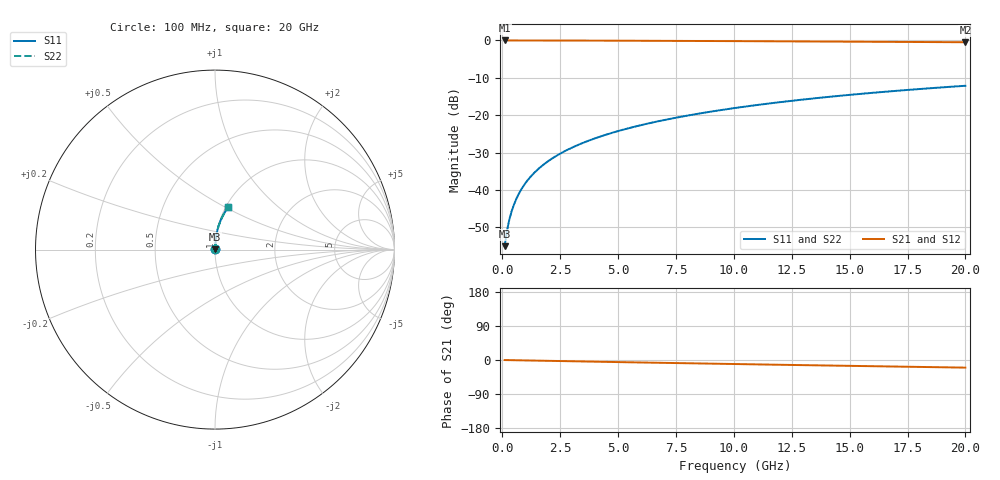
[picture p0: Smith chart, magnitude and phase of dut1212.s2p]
! Touchstone file exported from HFSS 2024.1.0
!  File:  C:/UserFiles/LocalFiles/RDL_TSV_Batchsim/temp_RDL_top_1212_1780239928.aedt
!  Generated:  11:07:52 PM May 31, 2026
!  Design:  RDL_top
!  Project:  temp_RDL_top_1212_1780239928
!  Setup:  Setup1
!  Solution:  Sweep
! Variables:
!  dtsv = 10.80580581um
!  hbump = 3um
!  htsv = 89.34um
!  ldown = 100um
!  lrdl = 228.96um
!  p = 40
!  p1 = 53.1um
!  rhole = 1um
!  t = 450um
!  tdown = 3.915915916um
!  trdl = 4.81um
!  wdown = 15.38538539um
!  wrdl = 15.24um
# GHz S MA R 50.000000
! Terminal data exported
! Port[1] = Box2_T1
! Port[2] = Box2_T2
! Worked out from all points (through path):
!   200 points, 100 MHz to 20 GHz, reference 50 ohm
!   highest |S21| = -0.01 dB at 100 MHz (marker M1); lowest = -0.5 dB at 20 GHz (marker M2)
!   group delay of S21, straight-line fit = 2.78 ps
!   lowest |S11| = -55.1 dB at 100 MHz (marker M3), VSWR 1.00, Z = 50.1 + j0.127 ohm
!   |S11| at or under -10 dB: start of sweep to end of sweep
!   |S22| runs from -55.1 to -12.1 dB; largest |S21 - S12| = 2.7e-15
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0.1  0.001766 45.9  0.9988 -0.1  0.9988 -0.1  0.001766 45.9
! Gamma 0 0 0 0
! Port Impedance 50 0 50 0
0.2  0.002816 63.3  0.9987 -0.2  0.9987 -0.2  0.002816 63.3
0.3  0.003962 70.7  0.9987 -0.3  0.9987 -0.3  0.003962 70.7
0.4  0.005134 74.8  0.9986 -0.5  0.9986 -0.5  0.005134 74.8
0.5  0.006317 77.4  0.9986 -0.6  0.9986 -0.6  0.006317 77.4
0.7  0.008705 80.6  0.9985 -0.8  0.9985 -0.8  0.008705 80.6
0.8  0.009906 81.5  0.9984 -0.9  0.9984 -0.9  0.009906 81.5
1  0.01232 82.9  0.9983 -1.1  0.9983 -1.1  0.01232 82.9
1.2  0.01474 83.8  0.9981 -1.4  0.9981 -1.4  0.01474 83.8
1.4  0.01716 84.4  0.998 -1.6  0.998 -1.6  0.01716 84.4
1.7  0.0208 85.0  0.9977 -1.9  0.9977 -1.9  0.0208 85.0
2  0.02445 85.4  0.9974 -2.2  0.9974 -2.2  0.02445 85.4
2.7  0.03298 85.8  0.9964 -3.0  0.9964 -3.0  0.03298 85.8
3.5  0.04276 85.8  0.9951 -3.9  0.9951 -3.9  0.04276 85.8
4.2  0.05135 85.6  0.9937 -4.7  0.9937 -4.7  0.05135 85.6
5  0.06122 85.3  0.992 -5.5  0.992 -5.5  0.06121 85.3
6.8  0.08363 84.4  0.9876 -7.4  0.9876 -7.4  0.08363 84.4
8.3  0.1025 83.3  0.9835 -8.9  0.9835 -8.9  0.1025 83.3
10.1  0.1253 81.9  0.9783 -10.7  0.9783 -10.7  0.1253 81.9
13.4  0.1669 79.0  0.9681 -14.0  0.9681 -14.0  0.1669 78.9
16.7  0.2078 75.8  0.9571 -17.1  0.9571 -17.1  0.2077 75.8
20  0.2472 72.6  0.9453 -20.1  0.9453 -20.1  0.2472 72.6
